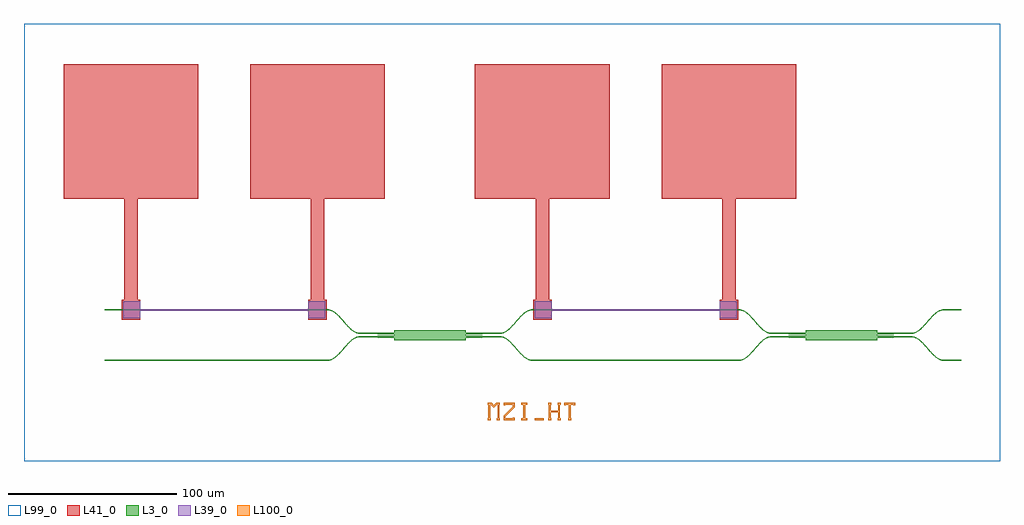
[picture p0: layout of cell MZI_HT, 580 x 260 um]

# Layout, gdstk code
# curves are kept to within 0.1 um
import gdstk
lib = gdstk.Library(unit=1e-6, precision=1e-09)
def R(c, l, rs):  # rectangles x0, y0, x1, y1
    for r in rs: c.add(gdstk.rectangle(r[:2], r[2:], *l))
def P(c, l, *ps):  # polygons
    for p in ps: c.add(gdstk.Polygon(p, *l))
L3_0 = (3, 0)
L39_0 = (39, 0)
L41_0 = (41, 0)
L99_0 = (99, 0)
L100_0 = (100, 0)

soi220nm_1550nm_te_strip = lib.new_cell('SOI220nm_1550nm_TE_STRIP_2x2_MMI_MMI_mmi_trace')
R(soi220nm_1550nm_te_strip, L3_0, [(0,-3,42.5,3)])

c_soi220nm_1550nm_te_strip = lib.new_cell('SOI220nm_1550nm_TE_STRIP_2x2_MMI_TRANSITION1')
P(c_soi220nm_1550nm_te_strip, L3_0, [(0,-1.765),(0,-0.265),(-20,-0.79),(-20,-1.24)])

c_soi220nm_1550nm_te_strip_ = lib.new_cell('SOI220nm_1550nm_TE_STRIP_2x2_MMI_TRANSITION2')
P(c_soi220nm_1550nm_te_strip_, L3_0, [(0,0.265),(0,1.765),(-20,1.24),(-20,0.79)])

c_soi220nm_1550nm_te_strip__ = lib.new_cell('SOI220nm_1550nm_TE_STRIP_2x2_MMI_TRANSITION3')
P(c_soi220nm_1550nm_te_strip__, L3_0, [(42.5,-0.265),(42.5,-1.765),(62.5,-1.24),(62.5,-0.79)])

c_soi220nm_1550nm_te_strip___ = lib.new_cell('SOI220nm_1550nm_TE_STRIP_2x2_MMI_TRANSITION4')
P(c_soi220nm_1550nm_te_strip___, L3_0, [(42.5,1.765),(42.5,0.265),(62.5,0.79),(62.5,1.24)])

c_soi220nm_1550nm_te_strip____ = lib.new_cell('SOI220nm_1550nm_TE_STRIP_2x2_MMI')
c_soi220nm_1550nm_te_strip____.add(gdstk.Reference(soi220nm_1550nm_te_strip, (0,0)))
c_soi220nm_1550nm_te_strip____.add(gdstk.Reference(c_soi220nm_1550nm_te_strip, (0,0)))
c_soi220nm_1550nm_te_strip____.add(gdstk.Reference(c_soi220nm_1550nm_te_strip_, (0,0)))
c_soi220nm_1550nm_te_strip____.add(gdstk.Reference(c_soi220nm_1550nm_te_strip__, (0,0)))
c_soi220nm_1550nm_te_strip____.add(gdstk.Reference(c_soi220nm_1550nm_te_strip___, (0,0)))

wg_trace_1 = lib.new_cell('WG_TRACE_1')
P(wg_trace_1, L3_0, [(-10,14.775),(122.955,14.754),(123.867,14.59),(125.246,14.039),(126.174,13.479),(127.577,12.38),(129.461,10.529),(134.689,4.676),(136.127,3.297),(137.09,2.51),(138.546,1.578),(139.524,1.145),(140.51,0.879),(142,0.79),(142,1.24),(140.59,1.323),(139.676,1.569),(138.754,1.976),(137.36,2.87),(136.423,3.635),(135.011,4.99),(129.789,10.837),(127.873,12.718),(126.426,13.851),(125.454,14.437),(123.983,15.024),(122.995,15.202),(-10,15.225)])

wg_trace_2 = lib.new_cell('WG_TRACE_2')
P(wg_trace_2, L3_0, [(-10,-15.225),(122.995,-15.202),(123.983,-15.024),(125.454,-14.437),(126.426,-13.851),(127.873,-12.718),(129.789,-10.837),(135.011,-4.99),(136.423,-3.635),(137.36,-2.87),(138.754,-1.976),(139.676,-1.569),(140.59,-1.323),(142,-1.24),(142,-0.79),(140.51,-0.879),(139.524,-1.145),(138.546,-1.578),(137.09,-2.51),(136.127,-3.297),(134.689,-4.676),(129.461,-10.529),(127.577,-12.38),(126.174,-13.479),(125.246,-14.039),(123.867,-14.59),(122.955,-14.754),(-10,-14.775)])

wg_trace_3 = lib.new_cell('WG_TRACE_3')
P(wg_trace_3, L3_0, [(224.5,0.79),(225.99,0.879),(226.976,1.145),(227.954,1.578),(229.41,2.51),(230.373,3.297),(231.811,4.676),(237.039,10.529),(238.454,11.954),(239.392,12.778),(240.791,13.777),(241.716,14.262),(242.633,14.59),(244.005,14.775),(367.455,14.754),(368.367,14.59),(369.746,14.039),(370.674,13.479),(372.077,12.38),(373.961,10.529),(379.189,4.676),(380.627,3.297),(382.074,2.164),(383.534,1.341),(385.01,0.879),(386.5,0.79),(386.5,1.24),(385.09,1.323),(384.176,1.569),(383.254,1.976),(381.86,2.87),(380.923,3.635),(379.511,4.99),(374.289,10.837),(372.373,12.718),(370.926,13.851),(369.954,14.437),(368.483,15.024),(367.495,15.202),(243.995,15.225),(243.01,15.136),(242.024,14.87),(241.046,14.437),(239.59,13.505),(238.627,12.718),(237.189,11.339),(231.961,5.486),(230.546,4.061),(229.608,3.237),(228.209,2.238),(226.824,1.569),(225.91,1.323),(224.5,1.24)])

wg_trace_4 = lib.new_cell('WG_TRACE_4')
P(wg_trace_4, L3_0, [(224.5,-1.24),(225.91,-1.323),(226.824,-1.569),(227.746,-1.976),(229.14,-2.87),(230.077,-3.635),(231.489,-4.99),(236.711,-10.837),(238.627,-12.718),(240.074,-13.851),(241.046,-14.437),(242.517,-15.024),(243.505,-15.202),(367.005,-15.225),(367.99,-15.136),(368.976,-14.87),(369.954,-14.437),(371.41,-13.505),(372.373,-12.718),(373.811,-11.339),(379.039,-5.486),(380.454,-4.061),(381.392,-3.237),(382.791,-2.238),(384.176,-1.569),(385.09,-1.323),(386.5,-1.24),(386.5,-0.79),(385.01,-0.879),(384.024,-1.145),(383.046,-1.578),(381.59,-2.51),(380.627,-3.297),(379.189,-4.676),(373.961,-10.529),(372.546,-11.954),(371.608,-12.778),(370.209,-13.777),(369.284,-14.262),(368.367,-14.59),(366.995,-14.775),(243.545,-14.754),(242.633,-14.59),(241.254,-14.039),(240.326,-13.479),(238.923,-12.38),(237.039,-10.529),(231.811,-4.676),(230.373,-3.297),(228.926,-2.164),(227.466,-1.341),(225.99,-0.879),(224.5,-0.79)])

wg_trace_5 = lib.new_cell('WG_TRACE_5')
P(wg_trace_5, L3_0, [(469,0.79),(470.49,0.879),(471.476,1.145),(472.454,1.578),(473.91,2.51),(474.873,3.297),(476.311,4.676),(481.066,10.016),(482.954,11.954),(483.892,12.778),(484.826,13.479),(486.216,14.262),(487.133,14.59),(488.505,14.775),(499,14.775),(499,15.225),(488.495,15.225),(487.51,15.136),(486.034,14.674),(484.574,13.851),(483.608,13.126),(482.646,12.282),(480.734,10.32),(476.461,5.486),(475.046,4.061),(474.108,3.237),(472.709,2.238),(471.324,1.569),(470.41,1.323),(469,1.24)])

wg_trace_6 = lib.new_cell('WG_TRACE_6')
P(wg_trace_6, L3_0, [(469,-1.24),(470.41,-1.323),(471.324,-1.569),(472.709,-2.238),(474.108,-3.237),(475.046,-4.061),(476.461,-5.486),(480.734,-10.32),(482.646,-12.282),(483.608,-13.126),(484.574,-13.851),(486.034,-14.674),(487.51,-15.136),(488.495,-15.225),(499,-15.225),(499,-14.775),(488.505,-14.775),(487.133,-14.59),(486.216,-14.262),(484.826,-13.479),(483.892,-12.778),(482.954,-11.954),(481.066,-10.016),(476.311,-4.676),(474.873,-3.297),(473.91,-2.51),(472.454,-1.578),(470.983,-0.991),(469.995,-0.813),(469,-0.79)])

mzi_ht = lib.new_cell('MZI_HT')
R(mzi_ht, L39_0, [(1,10,11,20), (111,10,121,20), (245.5,10,255.5,20), (355.5,10,365.5,20), (1,14.55,121,15.45), (245.5,14.55,365.5,15.45)])
R(mzi_ht, L41_0, [(0,9,11,21), (111,9,122,21), (244.5,9,255.5,21), (355.5,9,366.5,21), (1.5,21,9.5,81), (112.5,21,120.5,81), (246,21,254,81), (357,21,365,81), (-34.5,81,45.5,161), (76.5,81,156.5,161), (210,81,290,161), (321,81,401,161)])
R(mzi_ht, L99_0, [(-58,-75,522,185)])
R(mzi_ht, L100_0, [(217.591,-50.55,219.409,-49.45), (223.045,-50.55,224.864,-49.45), (237.409,-50.55,241.045,-49.45), (245.5,-50.55,250.955,-49.45), (253.591,-50.55,255.409,-49.45), (259.045,-50.55,260.864,-49.45), (265.318,-50.55,267.136,-49.45), (217.95,-50,219.05,-40.909), (223.405,-50,224.505,-40.909), (238.677,-50,239.777,-40.909), (253.95,-50,255.05,-40.909), (259.405,-50,260.505,-40.909), (265.677,-50,266.777,-40.909), (254.5,-46.005,259.955,-44.905), (237.409,-41.459,241.045,-40.359), (253.591,-41.459,255.409,-40.359), (259.045,-41.459,260.864,-40.359)])
P(mzi_ht, L100_0, [(217.591,-40.359),(219.91,-40.359),(221.227,-41.677),(222.545,-40.359),(224.864,-40.359),(224.864,-41.459),(223.001,-41.459),(221.227,-43.232),(219.454,-41.459),(217.591,-41.459)],
  [(226.95,-41.818),(226.95,-40.359),(233.505,-40.359),(233.505,-42.955),(228.05,-48.41),(228.05,-49.45),(232.405,-49.45),(232.405,-49.091),(233.505,-49.091),(233.505,-50.55),(226.95,-50.55),(226.95,-47.954),(232.405,-42.499),(232.405,-41.459),(228.05,-41.459),(228.05,-41.818)],
  [(262.95,-41.818),(262.95,-40.359),(269.505,-40.359),(269.505,-41.818),(268.405,-41.818),(268.405,-41.459),(264.05,-41.459),(264.05,-41.818)])
mzi_ht.add(gdstk.Reference(c_soi220nm_1550nm_te_strip____, (162,0)))
mzi_ht.add(gdstk.Reference(c_soi220nm_1550nm_te_strip____, (406.5,0)))
mzi_ht.add(gdstk.Reference(wg_trace_1, (0,0)))
mzi_ht.add(gdstk.Reference(wg_trace_2, (0,0)))
mzi_ht.add(gdstk.Reference(wg_trace_3, (0,0)))
mzi_ht.add(gdstk.Reference(wg_trace_4, (0,0)))
mzi_ht.add(gdstk.Reference(wg_trace_5, (0,0)))
mzi_ht.add(gdstk.Reference(wg_trace_6, (0,0)))

lib.write_gds('MZI_HT.gds')
